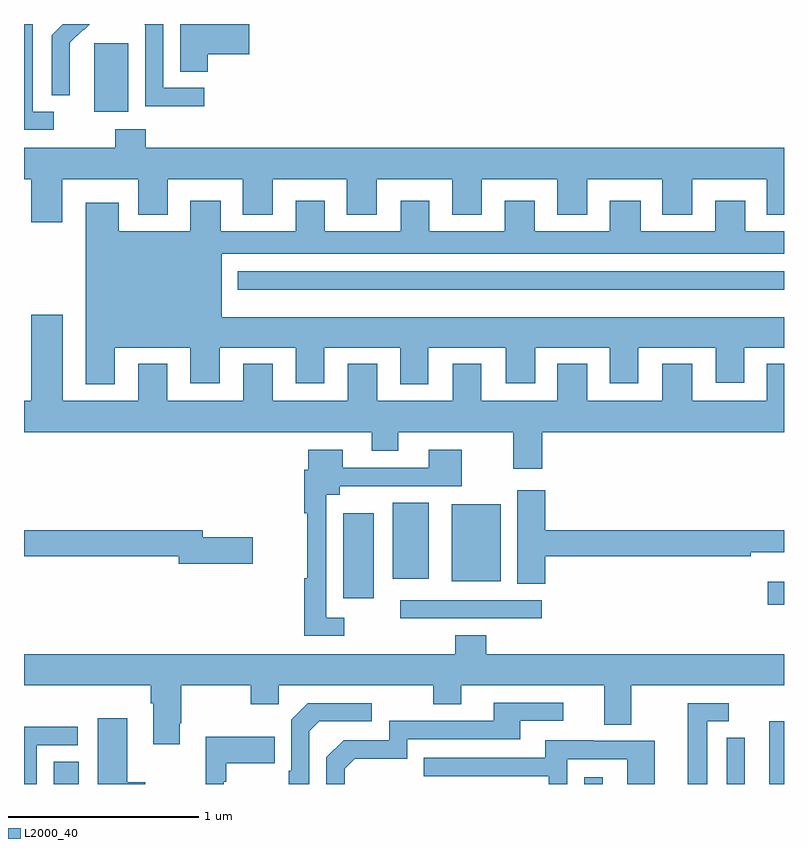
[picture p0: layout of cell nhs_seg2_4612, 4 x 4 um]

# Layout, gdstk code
import gdstk
lib = gdstk.Library(unit=1e-6, precision=1e-09)
def R(c, l, rs):  # rectangles x0, y0, x1, y1
    for r in rs: c.add(gdstk.rectangle(r[:2], r[2:], *l))
def P(c, l, *ps):  # polygons
    for p in ps: c.add(gdstk.Polygon(p, *l))
L2000_40 = (2000, 40)

nhs_seg2_4612 = lib.new_cell('nhs_seg2_4612')
R(nhs_seg2_4612, L2000_40, [(361.157,629.8,361.288,629.918), (363.948,629.8,364.045,629.836), (364.922,629.8,365,630.13), (362.979,630.672,363.724,630.768), (364.914,630.743,365,630.865), (362.681,630.777,362.842,631.225), (363.251,630.866,363.508,631.273), (362.942,630.881,363.13,631.279), (362.126,632.402,365,632.499), (361.37,633.338,361.549,633.699)])
P(nhs_seg2_4612, L2000_40, [(361.967,633.641),(362.185,633.641),(362.185,633.8),(361.823,633.8),(361.823,633.55),(361.967,633.55)],
  [(361.156,633.339),(361.045,633.339),(361.045,633.8),(361,633.8),(361,633.243),(361.156,633.243)],
  [(361.948,633.465),(361.734,633.465),(361.734,633.8),(361.636,633.8),(361.636,633.796),(361.638,633.796),(361.638,633.367),(361.948,633.367)],
  [(361.242,633.578),(361.241,633.578),(361.241,633.701),(361.311,633.771),(361.314,633.768),(361.346,633.8),(361.204,633.8),(361.146,633.742),(361.146,633.424),(361.242,633.424)],
  [(361.64,633.247),(361.48,633.247),(361.48,633.148),(361,633.148),(361,632.984),(361.037,632.984),(361.037,632.757),(361.201,632.757),(361.201,632.984),(361.601,632.984),(361.601,632.795),(361.756,632.795),(361.756,632.984),(362.15,632.984),(362.15,632.795),(362.308,632.795),(362.308,632.984),(362.699,632.984),(362.699,632.795),(362.857,632.795),(362.857,632.984),(363.254,632.984),(363.254,632.795),(363.409,632.795),(363.409,632.984),(363.806,632.984),(363.806,632.795),(363.964,632.795),(363.964,632.984),(364.358,632.984),(364.358,632.795),(364.516,632.795),(364.516,632.984),(364.91,632.984),(364.91,632.795),(365,632.795),(365,633.148),(361.64,633.148)],
  [(361.477,632.096),(361.874,632.096),(361.874,631.908),(362.029,631.908),(362.029,632.096),(362.429,632.096),(362.429,631.908),(362.581,631.908),(362.581,632.096),(362.981,632.096),(362.981,631.905),(363.127,631.905),(363.127,632.096),(363.536,632.096),(363.536,631.908),(363.691,631.908),(363.691,632.096),(364.082,632.096),(364.082,631.908),(364.234,631.908),(364.234,632.096),(364.64,632.096),(364.64,631.911),(364.792,631.911),(364.792,632.096),(365,632.096),(365,632.257),(362.041,632.257),(362.041,632.591),(365,632.591),(365,632.71),(364.795,632.71),(364.795,632.869),(364.637,632.869),(364.637,632.71),(364.246,632.71),(364.246,632.869),(364.082,632.869),(364.082,632.71),(363.688,632.71),(363.688,632.869),(363.53,632.869),(363.53,632.71),(363.133,632.71),(363.133,632.869),(362.984,632.869),(362.984,632.71),(362.584,632.71),(362.584,632.869),(362.429,632.869),(362.429,632.71),(362.035,632.71),(362.035,632.869),(361.874,632.869),(361.874,632.71),(361.498,632.71),(361.498,632.86),(361.325,632.86),(361.325,631.905),(361.477,631.905)],
  [(363.728,631.652),(365,631.652),(365,632.011),(364.91,632.011),(364.91,631.816),(364.516,631.816),(364.516,632.011),(364.358,632.011),(364.358,631.816),(363.964,631.816),(363.964,632.011),(363.806,632.011),(363.806,631.816),(363.406,631.816),(363.406,632.011),(363.257,632.011),(363.257,631.816),(362.86,631.816),(362.86,632.011),(362.705,632.011),(362.705,631.816),(362.308,631.816),(362.308,632.011),(362.153,632.011),(362.153,631.816),(361.753,631.816),(361.753,632.011),(361.601,632.011),(361.601,631.816),(361.204,631.816),(361.204,632.269),(361.037,632.269),(361.037,631.816),(361,631.816),(361,631.652),(362.831,631.652),(362.831,631.553),(362.971,631.553),(362.971,631.652),(363.575,631.652),(363.575,631.458),(363.728,631.458)],
  [(362.686,630.675),(362.592,630.675),(362.592,631.322),(362.662,631.322),(362.662,631.368),(363.304,631.368),(363.304,631.558),(363.131,631.558),(363.131,631.464),(362.677,631.464),(362.677,631.558),(362.495,631.558),(362.495,631.454),(362.476,631.454),(362.476,631.226),(362.491,631.226),(362.491,630.882),(362.476,630.882),(362.476,630.579),(362.686,630.579)],
  [(363.743,631),(364.826,631),(364.826,631.02),(365,631.02),(365,631.136),(363.743,631.136),(363.743,631.345),(363.596,631.345),(363.596,630.853),(363.743,630.853)],
  [(362.203,631.1),(361.942,631.1),(361.942,631.136),(361,631.136),(361,631),(361.814,631),(361.814,630.958),(362.203,630.958)],
  [(361.819,630.121),(361.827,630.121),(361.827,630.32),(362.194,630.32),(362.194,630.221),(362.34,630.221),(362.34,630.32),(363.154,630.32),(363.154,630.221),(363.301,630.221),(363.301,630.32),(364.055,630.32),(364.055,630.112),(364.195,630.112),(364.195,630.32),(365,630.32),(365,630.484),(363.434,630.484),(363.434,630.583),(363.269,630.583),(363.269,630.484),(361,630.484),(361,630.32),(361.667,630.32),(361.667,630.224),(361.679,630.224),(361.679,630.009),(361.819,630.009)],
  [(362.688,629.88),(362.741,629.933),(363.018,629.933),(363.018,630.036),(363.613,630.036),(363.613,630.132),(363.838,630.132),(363.838,630.228),(363.473,630.228),(363.473,630.132),(362.922,630.132),(362.922,630.03),(362.682,630.03),(362.592,629.94),(362.592,629.8),(362.688,629.8)],
  [(364.597,630.129),(364.708,630.129),(364.708,630.225),(364.493,630.225),(364.493,629.8),(364.597,629.8)],
  [(362.502,630.078),(362.553,630.129),(362.83,630.129),(362.83,630.225),(362.493,630.225),(362.406,630.138),(362.406,629.869),(362.394,629.869),(362.394,629.8),(362.502,629.8)],
  [(361.639,629.81),(361.543,629.81),(361.543,630.145),(361.388,630.145),(361.388,629.8),(361.639,629.8)],
  [(361.068,630.003),(361.282,630.003),(361.282,630.102),(361,630.102),(361,629.8),(361.068,629.8)],
  [(362.052,629.813),(362.065,629.813),(362.065,629.909),(362.321,629.909),(362.321,630.049),(361.956,630.049),(361.956,629.8),(362.052,629.8)],
  [(364.793,629.89),(364.794,629.89),(364.794,630.044),(364.698,630.044),(364.698,629.8),(364.793,629.8)],
  [(363.858,629.931),(364.176,629.931),(364.176,629.8),(364.321,629.8),(364.321,630.027),(363.997,630.027),(363.997,630.031),(363.743,630.031),(363.743,629.937),(363.103,629.937),(363.103,629.841),(363.762,629.841),(363.762,629.8),(363.858,629.8)])

lib.write_gds('nhs_seg2_4612.gds')
